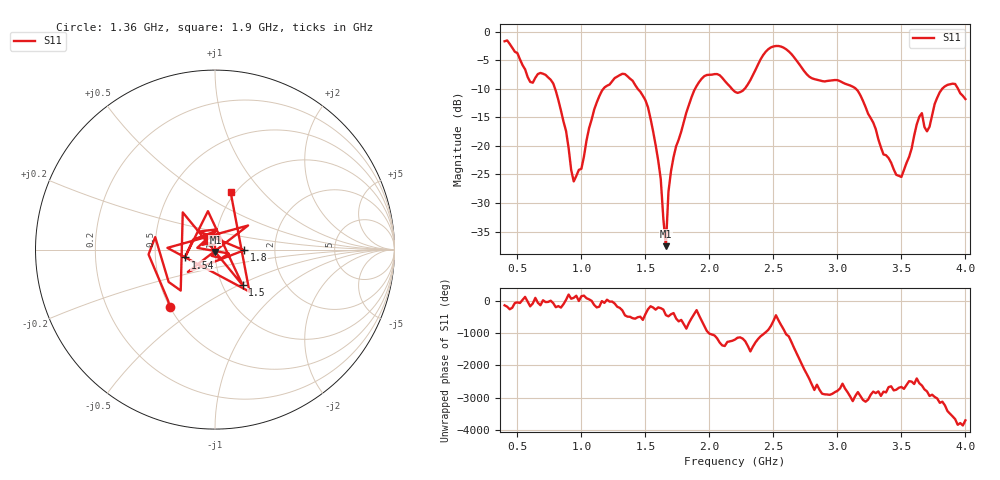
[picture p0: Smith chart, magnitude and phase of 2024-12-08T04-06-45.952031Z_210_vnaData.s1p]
!Created with skrf (http://scikit-rf.org).
# Hz S RI R 50.0
!freq ReS11 ImS11
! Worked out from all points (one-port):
!   181 points, 400 MHz to 4 GHz, reference 50 ohm
!   lowest |S11| = -37.6 dB at 1.66 GHz (marker M1), VSWR 1.03, Z = 50.2 - j1.31 ohm
!   |S11| at or under -10 dB: 794.1 MHz to 1.173 GHz (378.9 MHz wide, 38.5 % of centre); 1.439 GHz to 1.889 GHz (449.9 MHz wide, 27 % of centre); 3.143 GHz to 3.819 GHz (675.9 MHz wide, 19.4 % of centre) (the widest 3 of 5)
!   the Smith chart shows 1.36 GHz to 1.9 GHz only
!   S11 on the Smith chart (normalised r, x): 1.36 GHz: 0.50, -0.38; 1.5 GHz: 1.24, -0.52; 1.54 GHz: 0.71, -0.06; 1.8 GHz: 1.39, -0.01; 1.9 GHz: 0.95, +0.69
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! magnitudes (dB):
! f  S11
! 400 MHz  -1.7
! 600 MHz  -8.8
! 760 MHz  -8.4
! 860 MHz  -15.7
! 940 MHz  -26.2
! 1 GHz  -24.0
! 1.14 GHz  -11.3
! 1.3 GHz  -7.6
! 1.36 GHz  -7.8
! 1.5 GHz  -12.0
! 1.54 GHz  -15.2
! 1.62 GHz  -25.8
! 1.66 GHz  -37.6
! 1.68 GHz  -28.1
! 1.76 GHz  -18.9
! 1.8 GHz  -15.8
! 1.9 GHz  -9.5
! 2.06 GHz  -7.4
! 2.2 GHz  -10.5
! 2.48 GHz  -2.8
! 2.66 GHz  -4.5
! 3.1 GHz  -9.4
! 3.46 GHz  -25.1
! 3.56 GHz  -21.9
! 3.64 GHz  -14.9
! 3.7 GHz  -17.5
! 3.82 GHz  -10.0
! 4 GHz  -11.8
